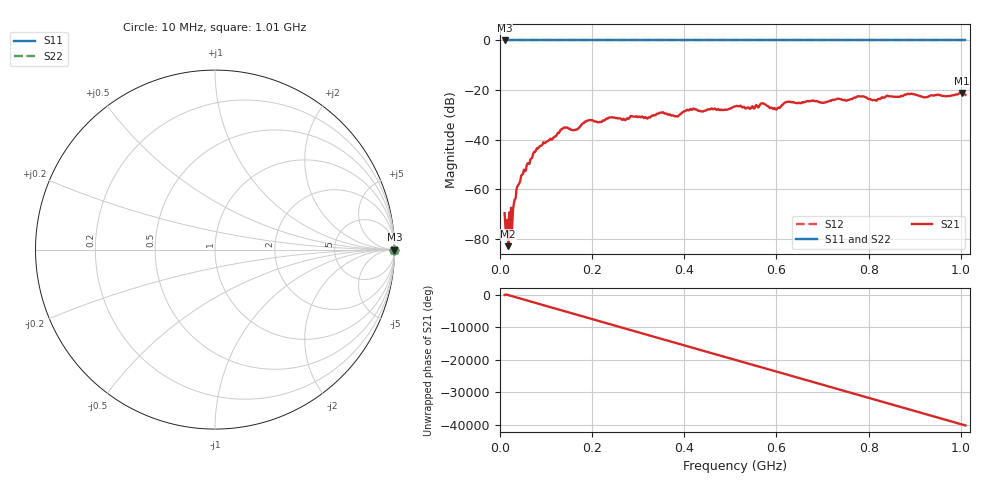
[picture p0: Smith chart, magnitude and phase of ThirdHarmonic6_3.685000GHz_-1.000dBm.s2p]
! 8/17/2025 12:29:21 PM
! C:\ANRITSUVNA\TEMP\TEMP.S2P
! CHANNEL.1
! TR.MEASUREMENT
! RAW.DATA
! RF.CORRECTION.OFF
! AVERAGING.OFF
! IF.BANDWIDTH: 5KHZ
! SWEEPTYPE:  FREQ.SWEEP(Linear)
! Reference Plane Port Info
! PORT:  PORT1  PORT2
! DISTANCE:  0  m  0  m
! TIME:  0  s  0  s
! PHASE.OFFSET:  0  deg.  0  deg.
! LOSS:  0  dB  0  dB
! REF.LOSS:  0  dB  0  dB
! REF.FREQ:  0  Hz  0  Hz
! Power Info
! POWER:  -20  dBm  -20  dBm
! EFF.POWER:  -20  dBm  -20  dBm
! SOURCE.ATTEN:  0  dB  0  dB
! TEST.ATTEN:  0  dB  0  dB
# GHZ S RI R 50.0
! FREQ.GHZ  S11RE  S11IM  S21RE  S21IM  S12RE  S12IM  S22RE  S22IM
!; PortSelection: Port_12
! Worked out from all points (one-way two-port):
!   501 points, 10 MHz to 1.01 GHz, reference 50 ohm
!   highest |S21| = -21.16 dB at 1.002 GHz (marker M1); lowest = -82.9 dB at 18 MHz (marker M2)
!   lowest |S11| = 0.0 dB at 10 MHz (marker M3)
!   |S11| at or under -10 dB: nowhere
!   |S22| runs from 0.0 to 0.0 dB; largest |S21 - S12| = 1.1
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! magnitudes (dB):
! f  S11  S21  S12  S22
! 10 MHz  0.0  -69.6  0.0  0.0
! 14 MHz  0.0  -76.3  0.0  0.0
! 18 MHz  0.0  -82.9  0.0  0.0
! 22 MHz  0.0  -75.7  0.0  0.0
! 30 MHz  0.0  -65.7  0.0  0.0
! 34 MHz  0.0  -63.5  0.0  0.0
! 42 MHz  0.0  -57.5  0.0  0.0
! 76 MHz  0.0  -44.9  0.0  0.0
! 136 MHz  0.0  -35.5  0.0  0.0
! 164 MHz  0.0  -36.1  0.0  0.0
! 178 MHz  0.0  -33.7  0.0  0.0
! 344 MHz  0.0  -29.5  0.0  0.0
! 384 MHz  0.0  -30.6  0.0  0.0
! 416 MHz  0.0  -27.9  0.0  0.0
! 510 MHz  0.0  -26.6  0.0  0.0
! 570 MHz  0.0  -25.3  0.0  0.0
! 596 MHz  0.0  -27.2  0.0  0.0
! 624 MHz  0.0  -24.7  0.0  0.0
! 678 MHz  0.0  -24.2  0.0  0.0
! 844 MHz  0.0  -22.5  0.0  0.0
! 1.002 GHz  0.0  -21.2  0.0  0.0
! 1.01 GHz  0.0  -21.9  0.0  0.0
